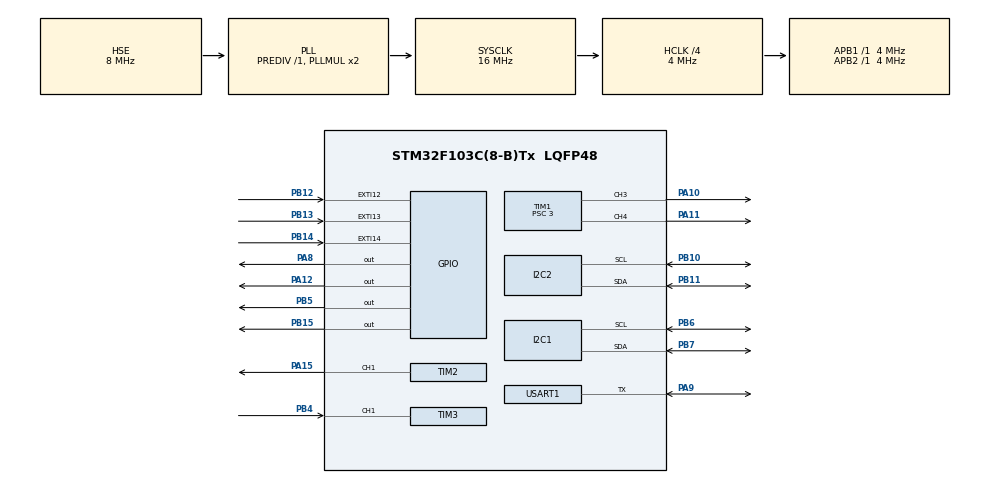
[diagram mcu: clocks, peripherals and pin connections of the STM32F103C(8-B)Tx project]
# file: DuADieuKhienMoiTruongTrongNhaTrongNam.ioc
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FREERTOS.Mutexes01=MutexI2C2,Dynamic,NULL,Available;MutexSCD41,Dynamic,NULL,Available;MutexMenu,Dynamic,NULL,Available
FREERTOS.Queues01=QueueEC11,20,rtrecd_queue_item_t,0,Dynamic,NULL,NULL;QueueSCD41,16,scd41_queue_item_t,0,Dynamic,NULL,NULL;QueueDS18B20,16,Ds18b20QueueItem,0,Dynamic,NULL,NULL;QueueOutput,16,uint16_t,0,Dynamic,NULL,NULL
FREERTOS.Tasks01=TaskInput,24,128,StartTaskInput,Default,NULL,Dynamic,NULL,NULL;TaskUI,24,146,StartTaskUI,Default,NULL,Dynamic,NULL,NULL;TaskLCD,24,212,StartTaskLCD,Default,NULL,Dynamic,NULL,NULL;TaskDS18B20,24,228,StartTaskDS18B20,Default,NULL,Dynamic,NULL,NULL;TaskOutput,24,128,StartTaskOutput,Default,NULL,Dynamic,NULL,NULL;TaskFanLearn,24,156,StartTaskFanLearn,Default,NULL,Dynamic,NULL,NULL;TaskSCD41,24,136,StartTaskSCD41,Default,NULL,Dynamic,NULL,NULL
FREERTOS.configTOTAL_HEAP_SIZE=6376
Mcu.Family=STM32F1
Mcu.Name=STM32F103C(8-B)Tx
Mcu.Package=LQFP48
NVIC.EXTI15_10_IRQn=true\:5\:0\:false\:false\:true\:true\:true\:true\:true
NVIC.PriorityGroup=NVIC_PRIORITYGROUP_4
NVIC.TIM3_IRQn=true\:5\:0\:false\:false\:true\:true\:true\:true\:true
NVIC.TIM4_IRQn=true\:15\:0\:false\:false\:true\:false\:false\:true\:true
NVIC.TimeBase=TIM4_IRQn
NVIC.TimeBaseIP=TIM4
NVIC.USART1_IRQn=true\:7\:0\:true\:false\:true\:true\:true\:true\:true
PA10.Signal=S_TIM1_CH3
PA11.Signal=S_TIM1_CH4
PA12.Signal=GPIO_Output
PA13.Mode=Trace_Asynchronous_SW
PA13.Signal=SYS_JTMS-SWDIO
PA14.Mode=Trace_Asynchronous_SW
PA14.Signal=SYS_JTCK-SWCLK
PA15.Signal=S_TIM2_CH1_ETR
PA8.Signal=GPIO_Output
PA9.Mode=Half_duplex(single_wire_mode)
PA9.Signal=USART1_TX
PB10.Mode=I2C
PB10.Signal=I2C2_SCL
PB11.Mode=I2C
PB11.Signal=I2C2_SDA
PB12.GPIO_ModeDefaultEXTI=GPIO_MODE_IT_RISING_FALLING
PB12.GPIO_PuPd=GPIO_PULLUP
PB12.Signal=GPXTI12
PB13.GPIO_ModeDefaultEXTI=GPIO_MODE_IT_RISING_FALLING
PB13.GPIO_PuPd=GPIO_PULLUP
PB13.Signal=GPXTI13
PB14.GPIO_ModeDefaultEXTI=GPIO_MODE_IT_RISING_FALLING
PB14.GPIO_PuPd=GPIO_PULLUP
PB14.Signal=GPXTI14
PB15.Signal=GPIO_Output
PB3.Mode=Trace_Asynchronous_SW
PB3.Signal=SYS_JTDO-TRACESWO
PB4.Signal=S_TIM3_CH1
PB5.Signal=GPIO_Output
PB6.Mode=I2C
PB6.Signal=I2C1_SCL
PB7.Mode=I2C
PB7.Signal=I2C1_SDA
PC14-OSC32_IN.Mode=LSE-External-Oscillator
PC14-OSC32_IN.Signal=RCC_OSC32_IN
PC15-OSC32_OUT.Mode=LSE-External-Oscillator
PC15-OSC32_OUT.Signal=RCC_OSC32_OUT
PD0-OSC_IN.Mode=HSE-External-Oscillator
PD0-OSC_IN.Signal=RCC_OSC_IN
PD1-OSC_OUT.Mode=HSE-External-Oscillator
PD1-OSC_OUT.Signal=RCC_OSC_OUT
ProjectManager.HeapSize=0x200
ProjectManager.StackSize=0x400
ProjectManager.TargetToolchain=STM32CubeIDE
RCC.AHBCLKDivider=RCC_SYSCLK_DIV4
RCC.AHBFreq_Value=4000000
RCC.APB1Freq_Value=4000000
RCC.APB1TimFreq_Value=4000000
RCC.APB2Freq_Value=4000000
RCC.APB2TimFreq_Value=4000000
RCC.HCLKFreq_Value=4000000
RCC.PLLSourceVirtual=RCC_PLLSOURCE_HSE
RCC.RTCClockSelection=RCC_RTCCLKSOURCE_LSE
RCC.SYSCLKFreq_VALUE=16000000
RCC.SYSCLKSource=RCC_SYSCLKSOURCE_PLLCLK
RCC.USBFreq_Value=16000000
SH.S_TIM1_CH3.0=TIM1_CH3,PWM Generation3 CH3
SH.S_TIM1_CH4.0=TIM1_CH4,PWM Generation4 CH4
SH.S_TIM2_CH1_ETR.0=TIM2_CH1,PWM Generation1 CH1
SH.S_TIM3_CH1.0=TIM3_CH1,Input_Capture1_from_TI1
TIM1.Channel-PWM\ Generation3\ CH3=TIM_CHANNEL_3
TIM1.Channel-PWM\ Generation4\ CH4=TIM_CHANNEL_4
TIM1.Period=19999
TIM1.Prescaler=3
TIM2.Channel-PWM\ Generation1\ CH1=TIM_CHANNEL_1
TIM2.OCPolarity_1=TIM_OCPOLARITY_LOW
TIM2.Period=159
TIM3.Channel-Input_Capture1_from_TI1=TIM_CHANNEL_1
TIM3.ICFilter_CH1=8
TIM3.ICPolarity_CH1=TIM_INPUTCHANNELPOLARITY_FALLING
TIM3.Prescaler=3
USART1.VirtualMode=VM_ASYNC
VP_FREERTOS_VS_CMSIS_V2.Mode=CMSIS_V2
VP_RTC_VS_RTC_Activate.Mode=RTC_Enabled
VP_RTC_VS_RTC_Calendar.Mode=RTC_Calendar
VP_SYS_VS_tim4.Mode=TIM4
VP_TIM1_VS_ClockSourceINT.Mode=Internal
VP_TIM2_VS_ClockSourceINT.Mode=Internal
VP_TIM3_VS_ClockSourceINT.Mode=Internal
board=custom

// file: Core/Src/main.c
/* USER CODE BEGIN Header */
/**
  ******************************************************************************
  * @file           : main.c
  * @brief          : Main program body
  ******************************************************************************
  * @attention
  *
  * Copyright (c) 2026 STMicroelectronics.
  * All rights reserved.
  *
  * This software is licensed under terms that can be found in the LICENSE file
  * in the root directory of this software component.
  * If no LICENSE file comes with this software, it is provided AS-IS.
  *
  ******************************************************************************
  */
/* USER CODE END Header */
#include "main.h"
#include "cmsis_os.h"

/* USER CODE BEGIN Includes */
#include "itm.h"
#include "rtrecd.h"
#include "lcd.h"
#include "scd4x_i2c.h"
#include "ds18b20_app.h"
#include "app_menu.h"
#include "app_settings.h"
#include "output.h"
#include "output_control.h"
#include "fan.h"
#include <string.h>

#undef Error_Handler
/* USER CODE END Includes */

I2C_HandleTypeDef hi2c1;
I2C_HandleTypeDef hi2c2;

RTC_HandleTypeDef hrtc;

TIM_HandleTypeDef htim1;
TIM_HandleTypeDef htim2;
TIM_HandleTypeDef htim3;

UART_HandleTypeDef huart1;

/* Definitions for TaskInput */
osThreadId_t TaskInputHandle;
const osThreadAttr_t TaskInput_attributes = {
  .name = "TaskInput",
  .stack_size = 128 * 4,
  .priority = (osPriority_t) osPriorityNormal,
};
/* Definitions for TaskUI */
osThreadId_t TaskUIHandle;
const osThreadAttr_t TaskUI_attributes = {
  .name = "TaskUI",
  .stack_size = 146 * 4,
  .priority = (osPriority_t) osPriorityNormal,
};
/* Definitions for TaskLCD */
osThreadId_t TaskLCDHandle;
const osThreadAttr_t TaskLCD_attributes = {
  .name = "TaskLCD",
  .stack_size = 212 * 4,
  .priority = (osPriority_t) osPriorityNormal,
};
/* Definitions for TaskDS18B20 */
osThreadId_t TaskDS18B20Handle;
const osThreadAttr_t TaskDS18B20_attributes = {
  .name = "TaskDS18B20",
  .stack_size = 228 * 4,
  .priority = (osPriority_t) osPriorityNormal,
};
/* Definitions for TaskOutput */
osThreadId_t TaskOutputHandle;
const osThreadAttr_t TaskOutput_attributes = {
  .name = "TaskOutput",
  .stack_size = 128 * 4,
  .priority = (osPriority_t) osPriorityNormal,
};
/* Definitions for TaskFanLearn */
osThreadId_t TaskFanLearnHandle;
const osThreadAttr_t TaskFanLearn_attributes = {
  .name = "TaskFanLearn",
  .stack_size = 156 * 4,
  .priority = (osPriority_t) osPriorityNormal,
};
/* Definitions for TaskSCD41 */
osThreadId_t TaskSCD41Handle;
const osThreadAttr_t TaskSCD41_attributes = {
  .name = "TaskSCD41",
  .stack_size = 136 * 4,
  .priority = (osPriority_t) osPriorityNormal,
};
/* Definitions for QueueEC11 */
osMessageQueueId_t QueueEC11Handle;
const osMessageQueueAttr_t QueueEC11_attributes = {
  .name = "QueueEC11"
};
/* Definitions for QueueSCD41 */
osMessageQueueId_t QueueSCD41Handle;
const osMessageQueueAttr_t QueueSCD41_attributes = {
  .name = "QueueSCD41"
};
/* Definitions for QueueDS18B20 */
osMessageQueueId_t QueueDS18B20Handle;
const osMessageQueueAttr_t QueueDS18B20_attributes = {
  .name = "QueueDS18B20"
};
/* Definitions for QueueOutput */
osMessageQueueId_t QueueOutputHandle;
const osMessageQueueAttr_t QueueOutput_attributes = {
  .name = "QueueOutput"
};
/* Definitions for MutexI2C2 */
osMutexId_t MutexI2C2Handle;
const osMutexAttr_t MutexI2C2_attributes = {
  .name = "MutexI2C2"
};
/* Definitions for MutexSCD41 */
osMutexId_t MutexSCD41Handle;
const osMutexAttr_t MutexSCD41_attributes = {
  .name = "MutexSCD41"
};
/* Definitions for MutexMenu */
osMutexId_t MutexMenuHandle;
const osMutexAttr_t MutexMenu_attributes = {
  .name = "MutexMenu"
};
/* USER CODE BEGIN PV */

static rtrecd_t g_rtrecd = {
  .pin_a = {GPIOB, GPIO_PIN_12},
  .pin_b = {GPIOB, GPIO_PIN_13},
  .pin_sw = {GPIOB, GPIO_PIN_14}
};

/* Menu context - shared between TaskUI (writer) and TaskLCD (reader/renderer) */
static app_menu_ctx_t g_menu_ctx;
static output_t       g_output;
static fan_ctx_t      g_fan_ctx;

/* Bộ đếm xung TACH (PB4 / TIM3_CH1): tăng trong HAL_TIM_IC_CaptureCallback */
static volatile uint32_t g_tach_pulse_count = 0U;

uint32_t ramduinput, ramduui, ramdulcd, ramduds18b20, ramduoutput, ramdufanlearn, ramduscd41;
uint32_t free_heap __attribute__((unused));
/* USER CODE END PV */

void SystemClock_Config(void);
static void MX_GPIO_Init(void);
static void MX_I2C2_Init(void);
static void MX_I2C1_Init(void);
static void MX_USART1_UART_Init(void);
static void MX_RTC_Init(void);
static void MX_TIM1_Init(void);
static void MX_TIM2_Init(void);
static void MX_TIM3_Init(void);
void StartTaskInput(void *argument);
void StartTaskUI(void *argument);
void StartTaskLCD(void *argument);
void StartTaskDS18B20(void *argument);
void StartTaskOutput(void *argument);
void StartTaskFanLearn(void *argument);
void StartTaskSCD41(void *argument);

/* USER CODE BEGIN PFP */
void HAL_GPIO_EXTI_Callback(uint16_t GPIO_Pin);
/* USER CODE END PFP */

/* USER CODE BEGIN 0 */

/**
 * @brief Cập nhật GPIO báo động PB5 theo mọi nguồn lỗi.
 *        Gọi từ StartTaskFanLearn mỗi vòng lặp.
 */
static void alarm_update(void)
{
  bool scd41_fault    = false;
  uint8_t ds18b20_mask = 0U;

  osMutexAcquire(MutexMenuHandle, osWaitForever);
  scd41_fault   = g_menu_ctx.scd41_fault;
  ds18b20_mask  = g_menu_ctx.ds18b20_fault_mask;
  osMutexRelease(MutexMenuHandle);

  fan_alarm_update(&g_fan_ctx, scd41_fault, ds18b20_mask);
}

/* USER CODE END 0 */

int main(void)
{

  /* USER CODE BEGIN 1 */
	itm_set_library_enabled(ITM_LIB_RTRECD,  false);
	itm_set_library_enabled(ITM_LIB_DS18B20, false);
	itm_set_library_enabled(ITM_LIB_GLOBAL,  false);
	itm_set_library_enabled(ITM_LIB_SCD41,   false);
	itm_set_library_enabled(ITM_LIB_FAN,     false);

  /* USER CODE END 1 */

  /* MCU Configuration--------------------------------------------------------*/

  /* Reset of all peripherals, Initializes the Flash interface and the Systick. */
  HAL_Init();

  /* Configure the system clock */
  SystemClock_Config();

  /* Initialize all configured peripherals */
  MX_GPIO_Init();
  MX_I2C2_Init();
  MX_I2C1_Init();
  MX_USART1_UART_Init();
  MX_RTC_Init();
  MX_TIM1_Init();
  MX_TIM2_Init();
  MX_TIM3_Init();

  /* Init scheduler */
  osKernelInitialize();
  /* Create the mutex(es) */
  /* creation of MutexI2C2 */
  MutexI2C2Handle = osMutexNew(&MutexI2C2_attributes);

  /* creation of MutexSCD41 */
  MutexSCD41Handle = osMutexNew(&MutexSCD41_attributes);

  /* creation of MutexMenu */
  MutexMenuHandle = osMutexNew(&MutexMenu_attributes);

  /* USER CODE BEGIN RTOS_MUTEX */
  /* MutexMenu đã được tạo bởi CubeMX ở trên */
  /* USER CODE END RTOS_MUTEX */

  /* Create the queue(s) */
  /* creation of QueueEC11 */
  QueueEC11Handle = osMessageQueueNew (20, sizeof(rtrecd_queue_item_t), &QueueEC11_attributes);

  /* creation of QueueSCD41 */
  QueueSCD41Handle = osMessageQueueNew (16, sizeof(scd41_queue_item_t), &QueueSCD41_attributes);

  /* creation of QueueDS18B20 */
  QueueDS18B20Handle = osMessageQueueNew (16, sizeof(Ds18b20QueueItem), &QueueDS18B20_attributes);

  /* creation of QueueOutput */
  QueueOutputHandle = osMessageQueueNew (16, sizeof(uint16_t), &QueueOutput_attributes);

  /* Create the thread(s) */
  /* creation of TaskInput */
  TaskInputHandle = osThreadNew(StartTaskInput, NULL, &TaskInput_attributes);

  /* creation of TaskUI */
  TaskUIHandle = osThreadNew(StartTaskUI, NULL, &TaskUI_attributes);

  /* creation of TaskLCD */
  TaskLCDHandle = osThreadNew(StartTaskLCD, NULL, &TaskLCD_attributes);

  /* creation of TaskDS18B20 */
  TaskDS18B20Handle = osThreadNew(StartTaskDS18B20, NULL, &TaskDS18B20_attributes);

  /* creation of TaskOutput */
  TaskOutputHandle = osThreadNew(StartTaskOutput, NULL, &TaskOutput_attributes);

  /* creation of TaskFanLearn */
  TaskFanLearnHandle = osThreadNew(StartTaskFanLearn, NULL, &TaskFanLearn_attributes);

  /* creation of TaskSCD41 */
  TaskSCD41Handle = osThreadNew(StartTaskSCD41, NULL, &TaskSCD41_attributes);

  /* USER CODE BEGIN RTOS_THREADS */
  free_heap = xPortGetFreeHeapSize();

  /* USER CODE END RTOS_THREADS */

  /* Start scheduler */
  osKernelStart();

  /* We should never get here as control is now taken by the scheduler */

  /* Infinite loop */
  while (1)
  {

  }
}

void SystemClock_Config(void)
{
  RCC_OscInitTypeDef RCC_OscInitStruct = {0};
  RCC_ClkInitTypeDef RCC_ClkInitStruct = {0};
  RCC_PeriphCLKInitTypeDef PeriphClkInit = {0};

  /** Initializes the RCC Oscillators according to the specified parameters
  * in the RCC_OscInitTypeDef structure.
  */
  RCC_OscInitStruct.OscillatorType = RCC_OSCILLATORTYPE_HSE|RCC_OSCILLATORTYPE_LSE;
  RCC_OscInitStruct.HSEState = RCC_HSE_ON;
  RCC_OscInitStruct.HSEPredivValue = RCC_HSE_PREDIV_DIV1;
  RCC_OscInitStruct.LSEState = RCC_LSE_ON;
  RCC_OscInitStruct.HSIState = RCC_HSI_ON;
  RCC_OscInitStruct.PLL.PLLState = RCC_PLL_ON;
  RCC_OscInitStruct.PLL.PLLSource = RCC_PLLSOURCE_HSE;
  RCC_OscInitStruct.PLL.PLLMUL = RCC_PLL_MUL2;
  if (HAL_RCC_OscConfig(&RCC_OscInitStruct) != HAL_OK)
  {
    Error_Handler();
  }

  /** Initializes the CPU, AHB and APB buses clocks
  */
  RCC_ClkInitStruct.ClockType = RCC_CLOCKTYPE_HCLK|RCC_CLOCKTYPE_SYSCLK
                              |RCC_CLOCKTYPE_PCLK1|RCC_CLOCKTYPE_PCLK2;
  RCC_ClkInitStruct.SYSCLKSource = RCC_SYSCLKSOURCE_PLLCLK;
  RCC_ClkInitStruct.AHBCLKDivider = RCC_SYSCLK_DIV4;
  RCC_ClkInitStruct.APB1CLKDivider = RCC_HCLK_DIV1;
  RCC_ClkInitStruct.APB2CLKDivider = RCC_HCLK_DIV1;

  if (HAL_RCC_ClockConfig(&RCC_ClkInitStruct, FLASH_LATENCY_0) != HAL_OK)
  {
    Error_Handler();
  }
  PeriphClkInit.PeriphClockSelection = RCC_PERIPHCLK_RTC;
  PeriphClkInit.RTCClockSelection = RCC_RTCCLKSOURCE_LSE;
  if (HAL_RCCEx_PeriphCLKConfig(&PeriphClkInit) != HAL_OK)
  {
    Error_Handler();
  }
}

static void MX_I2C1_Init(void)
{

  hi2c1.Instance = I2C1;
  hi2c1.Init.ClockSpeed = 100000;
  hi2c1.Init.DutyCycle = I2C_DUTYCYCLE_2;
  hi2c1.Init.OwnAddress1 = 0;
  hi2c1.Init.AddressingMode = I2C_ADDRESSINGMODE_7BIT;
  hi2c1.Init.DualAddressMode = I2C_DUALADDRESS_DISABLE;
  hi2c1.Init.OwnAddress2 = 0;
  hi2c1.Init.GeneralCallMode = I2C_GENERALCALL_DISABLE;
  hi2c1.Init.NoStretchMode = I2C_NOSTRETCH_DISABLE;
  if (HAL_I2C_Init(&hi2c1) != HAL_OK)
  {
    Error_Handler();
  }

}

static void MX_I2C2_Init(void)
{

  hi2c2.Instance = I2C2;
  hi2c2.Init.ClockSpeed = 100000;
  hi2c2.Init.DutyCycle = I2C_DUTYCYCLE_2;
  hi2c2.Init.OwnAddress1 = 0;
  hi2c2.Init.AddressingMode = I2C_ADDRESSINGMODE_7BIT;
  hi2c2.Init.DualAddressMode = I2C_DUALADDRESS_DISABLE;
  hi2c2.Init.OwnAddress2 = 0;
  hi2c2.Init.GeneralCallMode = I2C_GENERALCALL_DISABLE;
  hi2c2.Init.NoStretchMode = I2C_NOSTRETCH_DISABLE;
  if (HAL_I2C_Init(&hi2c2) != HAL_OK)
  {
    Error_Handler();
  }

}

static void MX_RTC_Init(void)
{

  RTC_TimeTypeDef sTime = {0};
  RTC_DateTypeDef DateToUpdate = {0};

  /** Initialize RTC Only
  */
  hrtc.Instance = RTC;
  hrtc.Init.AsynchPrediv = RTC_AUTO_1_SECOND;
  hrtc.Init.OutPut = RTC_OUTPUTSOURCE_ALARM;
  if (HAL_RTC_Init(&hrtc) != HAL_OK)
  {
    Error_Handler();
  }

  /* USER CODE BEGIN Check_RTC_BKUP */
  /*
   * Kiểm tra backup register DR1:
   * - Nếu = 0xA5A5 → RTC đã được set từ trước (VBAT còn), bỏ qua SetTime/SetDate.
   * - Nếu khác    → Lần đầu khởi động hoặc VBAT hết, cần set lại thời gian.
   */
  if (HAL_RTCEx_BKUPRead(&hrtc, RTC_BKP_DR1) == 0xA5A5U)
  {
      /*
       * Khôi phục ngày từ BKP DR2/DR3 (lưu bởi app_menu_write_time_to_rtc)
       * để phòng trường hợp debugger/reset xoá BKP ngày của HAL.
       * DR2 [15:9]=year-2000  [8:5]=month  [4:0]=day
       * DR3 = 0x5A5A (magic)
       */
      if (HAL_RTCEx_BKUPRead(&hrtc, RTC_BKP_DR3) == 0x5A5AU)
      {
          uint16_t d = (uint16_t)HAL_RTCEx_BKUPRead(&hrtc, RTC_BKP_DR2);
          RTC_DateTypeDef sDateRestore = {0};
          sDateRestore.Year    = (uint8_t)((d >> 9U) & 0x7FU);
          sDateRestore.Month   = (uint8_t)((d >> 5U) & 0x0FU);
          sDateRestore.Date    = (uint8_t)(d & 0x1FU);
          sDateRestore.WeekDay = RTC_WEEKDAY_MONDAY;
          HAL_RTC_SetDate(&hrtc, &sDateRestore, RTC_FORMAT_BIN);
      }
      /*
       * Bộ đếm RTC_CNT vẫn chạy (VBAT). Nếu đã qua 0h kể từ lần lưu DR2,
       * GetDate (gọi GetTime bên trong) sẽ cộng thêm ngày cho DateToUpdate.
       */
      {
          RTC_DateTypeDef sDateSync = {0};
          (void)HAL_RTC_GetDate(&hrtc, &sDateSync, RTC_FORMAT_BIN);
      }
      return; /* Thời gian RTC vẫn còn, không cần reset */
  }
  /* USER CODE END Check_RTC_BKUP */

  /** Initialize RTC and set the Time and Date
  */
  sTime.Hours = 0x0;
  sTime.Minutes = 0x0;
  sTime.Seconds = 0x0;

  if (HAL_RTC_SetTime(&hrtc, &sTime, RTC_FORMAT_BCD) != HAL_OK)
  {
    Error_Handler();
  }
  DateToUpdate.WeekDay = RTC_WEEKDAY_MONDAY;
  DateToUpdate.Month = RTC_MONTH_JANUARY;
  DateToUpdate.Date = 0x1;
  DateToUpdate.Year = 0x0;

  if (HAL_RTC_SetDate(&hrtc, &DateToUpdate, RTC_FORMAT_BCD) != HAL_OK)
  {
    Error_Handler();
  }
  /* USER CODE BEGIN RTC_Init 2 */
  /* Ghi magic number vào BKP DR1 để lần sau biết RTC đã được set */
  HAL_RTCEx_BKUPWrite(&hrtc, RTC_BKP_DR1, 0xA5A5U);
  /* USER CODE END RTC_Init 2 */

}

static void MX_TIM1_Init(void)
{

  TIM_ClockConfigTypeDef sClockSourceConfig = {0};
  TIM_MasterConfigTypeDef sMasterConfig = {0};
  TIM_OC_InitTypeDef sConfigOC = {0};
  TIM_BreakDeadTimeConfigTypeDef sBreakDeadTimeConfig = {0};

  htim1.Instance = TIM1;
  htim1.Init.Prescaler = 3;
  htim1.Init.CounterMode = TIM_COUNTERMODE_UP;
  htim1.Init.Period = 19999;
  htim1.Init.ClockDivision = TIM_CLOCKDIVISION_DIV1;
  htim1.Init.RepetitionCounter = 0;
  htim1.Init.AutoReloadPreload = TIM_AUTORELOAD_PRELOAD_DISABLE;
  if (HAL_TIM_Base_Init(&htim1) != HAL_OK)
  {
    Error_Handler();
  }
  sClockSourceConfig.ClockSource = TIM_CLOCKSOURCE_INTERNAL;
  if (HAL_TIM_ConfigClockSource(&htim1, &sClockSourceConfig) != HAL_OK)
  {
    Error_Handler();
  }
  if (HAL_TIM_PWM_Init(&htim1) != HAL_OK)
  {
    Error_Handler();
  }
  sMasterConfig.MasterOutputTrigger = TIM_TRGO_RESET;
  sMasterConfig.MasterSlaveMode = TIM_MASTERSLAVEMODE_DISABLE;
  if (HAL_TIMEx_MasterConfigSynchronization(&htim1, &sMasterConfig) != HAL_OK)
  {
    Error_Handler();
  }
  sConfigOC.OCMode = TIM_OCMODE_PWM1;
  sConfigOC.Pulse = 0;
  sConfigOC.OCPolarity = TIM_OCPOLARITY_HIGH;
  sConfigOC.OCNPolarity = TIM_OCNPOLARITY_HIGH;
  sConfigOC.OCFastMode = TIM_OCFAST_DISABLE;
  sConfigOC.OCIdleState = TIM_OCIDLESTATE_RESET;
  sConfigOC.OCNIdleState = TIM_OCNIDLESTATE_RESET;
  if (HAL_TIM_PWM_ConfigChannel(&htim1, &sConfigOC, TIM_CHANNEL_3) != HAL_OK)
  {
    Error_Handler();
  }
  if (HAL_TIM_PWM_ConfigChannel(&htim1, &sConfigOC, TIM_CHANNEL_4) != HAL_OK)
  {
    Error_Handler();
  }
  sBreakDeadTimeConfig.OffStateRunMode = TIM_OSSR_DISABLE;
  sBreakDeadTimeConfig.OffStateIDLEMode = TIM_OSSI_DISABLE;
  sBreakDeadTimeConfig.LockLevel = TIM_LOCKLEVEL_OFF;
  sBreakDeadTimeConfig.DeadTime = 0;
  sBreakDeadTimeConfig.BreakState = TIM_BREAK_DISABLE;
  sBreakDeadTimeConfig.BreakPolarity = TIM_BREAKPOLARITY_HIGH;
  sBreakDeadTimeConfig.AutomaticOutput = TIM_AUTOMATICOUTPUT_DISABLE;
  if (HAL_TIMEx_ConfigBreakDeadTime(&htim1, &sBreakDeadTimeConfig) != HAL_OK)
  {
    Error_Handler();
  }
  HAL_TIM_MspPostInit(&htim1);

}

static void MX_TIM2_Init(void)
{

  TIM_ClockConfigTypeDef sClockSourceConfig = {0};
  TIM_MasterConfigTypeDef sMasterConfig = {0};
  TIM_OC_InitTypeDef sConfigOC = {0};

  htim2.Instance = TIM2;
  htim2.Init.Prescaler = 0;
  htim2.Init.CounterMode = TIM_COUNTERMODE_UP;
  htim2.Init.Period = 159;
  htim2.Init.ClockDivision = TIM_CLOCKDIVISION_DIV1;
  htim2.Init.AutoReloadPreload = TIM_AUTORELOAD_PRELOAD_DISABLE;
  if (HAL_TIM_Base_Init(&htim2) != HAL_OK)
  {
    Error_Handler();
  }
  sClockSourceConfig.ClockSource = TIM_CLOCKSOURCE_INTERNAL;
  if (HAL_TIM_ConfigClockSource(&htim2, &sClockSourceConfig) != HAL_OK)
  {
    Error_Handler();
  }
  if (HAL_TIM_PWM_Init(&htim2) != HAL_OK)
  {
    Error_Handler();
  }
  sMasterConfig.MasterOutputTrigger = TIM_TRGO_RESET;
  sMasterConfig.MasterSlaveMode = TIM_MASTERSLAVEMODE_DISABLE;
  if (HAL_TIMEx_MasterConfigSynchronization(&htim2, &sMasterConfig) != HAL_OK)
  {
    Error_Handler();
  }
  sConfigOC.OCMode = TIM_OCMODE_PWM1;
  sConfigOC.Pulse = 0;
  sConfigOC.OCPolarity = TIM_OCPOLARITY_LOW;
  sConfigOC.OCFastMode = TIM_OCFAST_DISABLE;
  if (HAL_TIM_PWM_ConfigChannel(&htim2, &sConfigOC, TIM_CHANNEL_1) != HAL_OK)
  {
    Error_Handler();
  }
  HAL_TIM_MspPostInit(&htim2);

}

static void MX_TIM3_Init(void)
{

  TIM_ClockConfigTypeDef sClockSourceConfig = {0};
  TIM_MasterConfigTypeDef sMasterConfig = {0};
  TIM_IC_InitTypeDef sConfigIC = {0};

  htim3.Instance = TIM3;
  htim3.Init.Prescaler = 3;
  htim3.Init.CounterMode = TIM_COUNTERMODE_UP;
  htim3.Init.Period = 65535;
  htim3.Init.ClockDivision = TIM_CLOCKDIVISION_DIV1;
  htim3.Init.AutoReloadPreload = TIM_AUTORELOAD_PRELOAD_DISABLE;
  if (HAL_TIM_Base_Init(&htim3) != HAL_OK)
  {
    Error_Handler();
  }
  sClockSourceConfig.ClockSource = TIM_CLOCKSOURCE_INTERNAL;
  if (HAL_TIM_ConfigClockSource(&htim3, &sClockSourceConfig) != HAL_OK)
  {
    Error_Handler();
  }
  if (HAL_TIM_IC_Init(&htim3) != HAL_OK)
  {
    Error_Handler();
  }
  sMasterConfig.MasterOutputTrigger = TIM_TRGO_RESET;
  sMasterConfig.MasterSlaveMode = TIM_MASTERSLAVEMODE_DISABLE;
  if (HAL_TIMEx_MasterConfigSynchronization(&htim3, &sMasterConfig) != HAL_OK)
  {
    Error_Handler();
  }
  sConfigIC.ICPolarity = TIM_INPUTCHANNELPOLARITY_FALLING;
  sConfigIC.ICSelection = TIM_ICSELECTION_DIRECTTI;
  sConfigIC.ICPrescaler = TIM_ICPSC_DIV1;
  sConfigIC.ICFilter = 8;
  if (HAL_TIM_IC_ConfigChannel(&htim3, &sConfigIC, TIM_CHANNEL_1) != HAL_OK)
  {
    Error_Handler();
  }

}

static void MX_USART1_UART_Init(void)
{

  huart1.Instance = USART1;
  huart1.Init.BaudRate = 115200;
  huart1.Init.WordLength = UART_WORDLENGTH_8B;
  huart1.Init.StopBits = UART_STOPBITS_1;
  huart1.Init.Parity = UART_PARITY_NONE;
  huart1.Init.Mode = UART_MODE_TX_RX;
  huart1.Init.HwFlowCtl = UART_HWCONTROL_NONE;
  huart1.Init.OverSampling = UART_OVERSAMPLING_16;
  if (HAL_HalfDuplex_Init(&huart1) != HAL_OK)
  {
    Error_Handler();
  }

}

static void MX_GPIO_Init(void)
{
  GPIO_InitTypeDef GPIO_InitStruct = {0};

  /* GPIO Ports Clock Enable */
  __HAL_RCC_GPIOC_CLK_ENABLE();
  __HAL_RCC_GPIOD_CLK_ENABLE();
  __HAL_RCC_GPIOB_CLK_ENABLE();
  __HAL_RCC_GPIOA_CLK_ENABLE();

  /*Configure GPIO pin Output Level */
  HAL_GPIO_WritePin(GPIOB, GPIO_PIN_15|GPIO_PIN_5, GPIO_PIN_RESET);

  /*Configure GPIO pin Output Level */
  HAL_GPIO_WritePin(GPIOA, GPIO_PIN_8|GPIO_PIN_12, GPIO_PIN_RESET);

  /*Configure GPIO pins : PB12 PB13 PB14 */
  GPIO_InitStruct.Pin = GPIO_PIN_12|GPIO_PIN_13|GPIO_PIN_14;
  GPIO_InitStruct.Mode = GPIO_MODE_IT_RISING_FALLING;
  GPIO_InitStruct.Pull = GPIO_PULLUP;
  HAL_GPIO_Init(GPIOB, &GPIO_InitStruct);

  /*Configure GPIO pins : PB15 PB5 */
  GPIO_InitStruct.Pin = GPIO_PIN_15|GPIO_PIN_5;
  GPIO_InitStruct.Mode = GPIO_MODE_OUTPUT_PP;
  GPIO_InitStruct.Pull = GPIO_NOPULL;
  GPIO_InitStruct.Speed = GPIO_SPEED_FREQ_LOW;
  HAL_GPIO_Init(GPIOB, &GPIO_InitStruct);

  /*Configure GPIO pins : PA8 PA12 */
  GPIO_InitStruct.Pin = GPIO_PIN_8|GPIO_PIN_12;
  GPIO_InitStruct.Mode = GPIO_MODE_OUTPUT_PP;
  GPIO_InitStruct.Pull = GPIO_NOPULL;
  GPIO_InitStruct.Speed = GPIO_SPEED_FREQ_LOW;
  HAL_GPIO_Init(GPIOA, &GPIO_InitStruct);

  /* EXTI interrupt init*/
  HAL_NVIC_SetPriority(EXTI15_10_IRQn, 5, 0);
  HAL_NVIC_EnableIRQ(EXTI15_10_IRQn);

}

/* USER CODE BEGIN 4 */
void HAL_GPIO_EXTI_Callback(uint16_t GPIO_Pin)
{
  if (GPIO_Pin == GPIO_PIN_12)
  {
    rtrecd_isr_a(&g_rtrecd);
  }
  else if (GPIO_Pin == GPIO_PIN_13)
  {
    rtrecd_isr_b(&g_rtrecd);
  }
  else if (GPIO_Pin == GPIO_PIN_14)
  {
    rtrecd_isr_sw(&g_rtrecd);
  }
}

void HAL_TIM_IC_CaptureCallback(TIM_HandleTypeDef *htim)
{
  if (htim->Instance == TIM3)
  {
    g_tach_pulse_count++;
  }
}

void HAL_UART_RxCpltCallback(UART_HandleTypeDef *huart)
{
  owReadHandler(huart);
}

void HAL_UART_ErrorCallback(UART_HandleTypeDef *huart)
{
  owErrorHandler(huart);
}
/* USER CODE END 4 */

void StartTaskInput(void *argument)
{
  /* USER CODE BEGIN 5 */
	if (rtrecd_init(&g_rtrecd) == false)
	{
		Error_Handler();
	}

  /* Infinite loop */
  for(;;)
  {
	  (void)rtrecd_service(&g_rtrecd, QueueEC11Handle);

	  ramduinput = uxTaskGetStackHighWaterMark(NULL);
	  osDelay(1);
  }
  /* USER CODE END 5 */
}

void StartTaskUI(void *argument)
{
  /* USER CODE BEGIN StartTaskUI */
	rtrecd_queue_item_t ev;
	scd41_queue_item_t scd41_data;

	bool got_event;

	/* Đọc RTC mỗi 1 giây */
	uint32_t rtc_last_tick = osKernelGetTickCount();

	/* Đồng bộ ngay lần đầu (trước đó app_menu_init chỉ set mặc định) */
	osMutexAcquire(MutexMenuHandle, osWaitForever);
	app_menu_update_time_from_rtc(&g_menu_ctx, &hrtc);
	osMutexRelease(MutexMenuHandle);

  /* Infinite loop */
  for(;;)
  {
	  got_event = false;

	  /* EC11: xử lý hết event trong queue (tránh tồn đọng khi MutexMenu bận). */
	  while (osMessageQueueGet(QueueEC11Handle, &ev, NULL, 0U) == osOK)
	  {
		  osMutexAcquire(MutexMenuHandle, osWaitForever);
		  app_menu_handle_event(&g_menu_ctx, ev);
		  if (g_menu_ctx.time_rtc_dirty)
		  {
			  app_menu_write_time_to_rtc(&g_menu_ctx, &hrtc);
		  }
		  osMutexRelease(MutexMenuHandle);
		  got_event = true;
	  }

	  /* SCD41 data -> menu sensor update + ITM log */
	  if (osMessageQueueGet(QueueSCD41Handle, &scd41_data, NULL, 0U) == osOK)
	  {
		  scd41_print_scd41_measurement(scd41_data.co2,
				  scd41_data.temperature_m_deg_c,
				  scd41_data.humidity_m_percent_rh);

		  osMutexAcquire(MutexMenuHandle, osWaitForever);
		  app_menu_update_scd41(&g_menu_ctx, &scd41_data);
		  /* Khi nhận được data hợp lệ, xóa fault trên LCD */
		  app_menu_set_scd41_fault(&g_menu_ctx, false);
		  osMutexRelease(MutexMenuHandle);

		  got_event = true;
	  }

	  /* Cập nhật trạng thái lỗi SCD41 lên LCD (đồng bộ từ thư viện scd41) */
	  {
		  bool fault = scd4x_runtime_fault_flag_active();
		  osMutexAcquire(MutexMenuHandle, osWaitForever);
		  app_menu_set_scd41_fault(&g_menu_ctx, fault);
		  osMutexRelease(MutexMenuHandle);
	  }

	  /* Đọc RTC mỗi 1 giây -> cập nhật time_cfg và dirty LCD */
	  if ((osKernelGetTickCount() - rtc_last_tick) >= 1000U)
	  {
		  rtc_last_tick = osKernelGetTickCount();
		  osMutexAcquire(MutexMenuHandle, osWaitForever);
		  app_menu_update_time_from_rtc(&g_menu_ctx, &hrtc);
		  osMutexRelease(MutexMenuHandle);
		  got_event = true;
	  }

	  if(got_event)
	  {
		  continue;
	  }
	  osDelay(10);

	  ramduui = uxTaskGetStackHighWaterMark(NULL);

  }
  /* USER CODE END StartTaskUI */
}

void StartTaskLCD(void *argument)
{
  /* USER CODE BEGIN StartTaskLCD */
	lcd_i2c_config_t lcd_cfg = {
	    .hi2c = &hi2c2,
	    .i2c_addr = 0x27 << 1,
	    .mutex = MutexI2C2Handle,
	};

    //itm_print("[LCD] init...\r\n");
    lcd_init(&lcd_cfg);
    //itm_print("[LCD] init OK\r\n");

    /* Khởi tạo menu sau khi LCD đã sẵn sàng */
    //itm_print("[FLASH] app_menu_init -> load settings\r\n");
    osMutexAcquire(MutexMenuHandle, osWaitForever);
    app_menu_init(&g_menu_ctx);
    osMutexRelease(MutexMenuHandle);
    //itm_print("[FLASH] app_menu_init done\r\n");

  /* Infinite loop */
  for(;;)
  {
	  osMutexAcquire(MutexMenuHandle, osWaitForever);
	  app_menu_render(&g_menu_ctx);
	  osMutexRelease(MutexMenuHandle);

	  ramdulcd = uxTaskGetStackHighWaterMark(NULL);
	  osDelay(50);
  }
  /* USER CODE END StartTaskLCD */
}

void StartTaskDS18B20(void *argument)
{
  /* USER CODE BEGIN StartTaskDS18B20 */
	  OneWire_Config  owCfg1;
	  OneWire_Context owCtx1;

	  owCfg1.huart      = &huart1;
	  owCfg1.maxDevices = 4U;   /* Tạm thời; vòng lặp đầu sẽ đồng bộ từ ds18b20_target_count */

	  Ds18b20Api_Init(&owCfg1, &owCtx1);
	  Ds18b20Api_BindMenuCtx(&owCfg1, &g_menu_ctx);

  /* Infinite loop */
  for(;;)
  {
	  /* ---- Đồng bộ số cảm biến từ settings (bao gồm sau khi load Flash) ---- */
	  if (g_menu_ctx.ds18b20_target_count > 0U && !g_menu_ctx.relearn_req)
	  {
		  owCfg1.maxDevices = g_menu_ctx.ds18b20_target_count;
	  }

	  /* ---- Xử lý yêu cầu học lại vị trí từ menu ---- */
	  if (g_menu_ctx.relearn_req)
	  {
		  /* Cập nhật số cảm biến theo cài đặt người dùng */
		  uint8_t target = g_menu_ctx.ds18b20_target_count;
		  if (target < 1U) target = 1U;
		  if (target > (uint8_t)MENU_DS18B20_MAX) target = (uint8_t)MENU_DS18B20_MAX;
		  owCfg1.maxDevices = target;

		  Ds18b20Api_RequestRelearn(&owCfg1, &owCtx1);

		  g_menu_ctx.relearn_req         = 0U;
		  g_menu_ctx.relearn_retry_count = 0U;
		  g_menu_ctx.relearn_phase       = DS18B20_LEARN_SEARCHING;
	  }

	  /* ---- Service bình thường ---- */
	  HAL_StatusTypeDef res = Ds18b20Api_Service(&owCfg1, &owCtx1,
			  	  	  QueueDS18B20Handle,
                      Ds18b20Api_GetFaultCb());

	  /* ---- Đọc kết quả từ queue và cập nhật menu ---- */
	  {
		  Ds18b20QueueItem ds18b20_data;
		  while (osMessageQueueGet(QueueDS18B20Handle, &ds18b20_data, NULL, 0U) == osOK)
		  {
			  Ds18b20Api_PrintItem(&ds18b20_data);
			  osMutexAcquire(MutexMenuHandle, osWaitForever);
			  app_menu_update_ds18b20(&g_menu_ctx, &ds18b20_data);
			  osMutexRelease(MutexMenuHandle);
		  }
	  }

	  /* ---- Cập nhật kết quả học vị trí ---- */
	  if (g_menu_ctx.relearn_phase == DS18B20_LEARN_SEARCHING)
	  {
		  if (res == HAL_OK)
		  {
			  /* Service OK = EnsureReady thành công + đọc nhiệt độ OK */
			  g_menu_ctx.relearn_phase = DS18B20_LEARN_DONE;
		  }
		  else
		  {
			  g_menu_ctx.relearn_retry_count++;
			  /* Timeout ~60s: 12 lần × 5s */
			  if (g_menu_ctx.relearn_retry_count > 12U)
			  {
				  g_menu_ctx.relearn_phase = DS18B20_LEARN_ERROR;
			  }
		  }
	  }

	  ramduds18b20 = uxTaskGetStackHighWaterMark(NULL);
      osDelay(500);
  }
  /* USER CODE END StartTaskDS18B20 */
}

void StartTaskOutput(void *argument)
{
  /* USER CODE BEGIN StartTaskOutput */
  output_cmd_t cmd;
  output_ctrl_snapshot_t snap;
  output_ctrl_state_t ctrl;
  uint32_t control_last_tick = osKernelGetTickCount();

  static bool servo_learn_was_active = false;

  output_ctrl_state_init(&ctrl);

  /* Đợi TaskLCD nạp Flash (servo_cal) trước khi khởi tạo PWM servo. */
  for (;;)
  {
    uint8_t menu_ready = 0U;

    osMutexAcquire(MutexMenuHandle, osWaitForever);
    menu_ready = g_menu_ctx.menu_inited;
    osMutexRelease(MutexMenuHandle);
    if (menu_ready != 0U)
    {
      break;
    }
    osDelay(10U);
  }

  servo_config_t servo_cfg = SERVO_BOARD_DEFAULT_CONFIG(&htim1);

  output_defaults(&g_output);
  g_output.fan.htim = &htim2;
  osMutexAcquire(MutexMenuHandle, osWaitForever);
  servo_apply_cal(&g_output.servo, &g_menu_ctx.servo_cal);
  osMutexRelease(MutexMenuHandle);
  if (!servo_init(&g_output.servo, &servo_cfg))
  {
    Error_Handler();
  }
  if (output_init(&g_output) == false)
  {
    Error_Handler();
  }

  for (;;)
  {
    uint32_t now_tick = osKernelGetTickCount();

    if (osMessageQueueGet(QueueOutputHandle, &cmd, NULL, 20U) == osOK)
    {
      (void)output_apply_cmd(&g_output, &cmd);
    }

    {
      bool servo_learn_active = false;

      osMutexAcquire(MutexMenuHandle, osWaitForever);
      servo_apply_cal(&g_output.servo, &g_menu_ctx.servo_cal);
      servo_learn_active = (g_menu_ctx.servo_learn_active != 0U);
      if (servo_learn_active)
      {
        servo_set_learn_preview(&g_output.servo,
                                g_menu_ctx.servo_learn_servo,
                                g_menu_ctx.servo_learn_angle_deg);
      }
      osMutexRelease(MutexMenuHandle);

      if (servo_learn_was_active && !servo_learn_active)
      {
        servo_resync_all(&g_output.servo);
      }
      servo_learn_was_active = servo_learn_active;

      if (!servo_learn_active)
      {
        servo_ramp_update(&g_output.servo, now_tick);
      }
    }

    if ((now_tick - control_last_tick) >= 200U)
    {
      control_last_tick = now_tick;
      output_ctrl_snapshot_take(&snap, &g_menu_ctx, MutexMenuHandle);

      (void)output_ctrl_apply(&g_output, &ctrl, &snap, now_tick);
    }
    ramduoutput = uxTaskGetStackHighWaterMark(NULL);
  }
  /* USER CODE END StartTaskOutput */
}

/* USER CODE BEGIN Header_StartTaskFanLearn */
/**
* @brief Function implementing the TaskFanLearn thread.
*        - Học tốc độ quạt: tắt quạt, chờ dừng hẳn, rồi tăng PWM 0→100%.
*        - Giám sát RPM đã học: lệch >±25% (2 lần ×5 s) → tắt quạt + QER + còi.
*        - Phục hồi lệch học: chờ quạt dừng hẳn (hết quán tính), quay tay >= 100 RPM mới bật lại;
*          trong ±15% mới tắt còi.
*        - Còi PB5 cũng kêu khi lỗi SCD41 hoặc DS18B20.
* @param argument: Not used
* @retval None
*/
/* USER CODE END Header_StartTaskFanLearn */
void StartTaskFanLearn(void *argument)
{
  /* USER CODE BEGIN StartTaskFanLearn */

  /* Khởi động TIM3 Input Capture để đếm xung TACH trên PB4 */
  HAL_NVIC_SetPriority(TIM3_IRQn, 5, 0);
  HAL_NVIC_EnableIRQ(TIM3_IRQn);
  HAL_TIM_IC_Start_IT(&htim3, TIM_CHANNEL_1);

  /* Khởi tạo fan context: PB5 = GPIO báo động */
  fan_ctx_init(&g_fan_ctx,
               &g_menu_ctx,
               &g_output,
               &g_tach_pulse_count,
               MutexMenuHandle,
               GPIOB,
               GPIO_PIN_5);

  for (;;)
  {
    fan_task_body(&g_fan_ctx);
    alarm_update();

    ramdufanlearn = uxTaskGetStackHighWaterMark(NULL);
    osDelay(100U);
  }
  /* USER CODE END StartTaskFanLearn */
}

void StartTaskSCD41(void *argument)
{
  /* USER CODE BEGIN StartTaskSCD41 */
	scd41_config_t scd41_config = {0};
	scd41_context_t scd41_context = {0};

	scd41_config.i2c_handle = &hi2c1;
	scd41_config.i2c_mutex = MutexSCD41Handle;

	scd4x_runtime_init(&scd41_config, &scd41_context);
	scd4x_runtime_start_periodic_measurement(&scd41_config, &scd41_context);

  /* Infinite loop */
  for(;;)
  {
	  (void)Scd41Api_Service(&scd41_config,
	                         &scd41_context,
	                         QueueSCD41Handle,
	                         scd4x_runtime_default_itm_fault_event_handler);

	  ramduscd41 = uxTaskGetStackHighWaterMark(NULL);
	  osDelay(500);
  }
  /* USER CODE END StartTaskSCD41 */
}

void HAL_TIM_PeriodElapsedCallback(TIM_HandleTypeDef *htim)
{
  if (htim->Instance == TIM4)
  {
    HAL_IncTick();
  }
}

void Error_Handler(void)
{
  __disable_irq();
  while (1)
  {
  }
}
